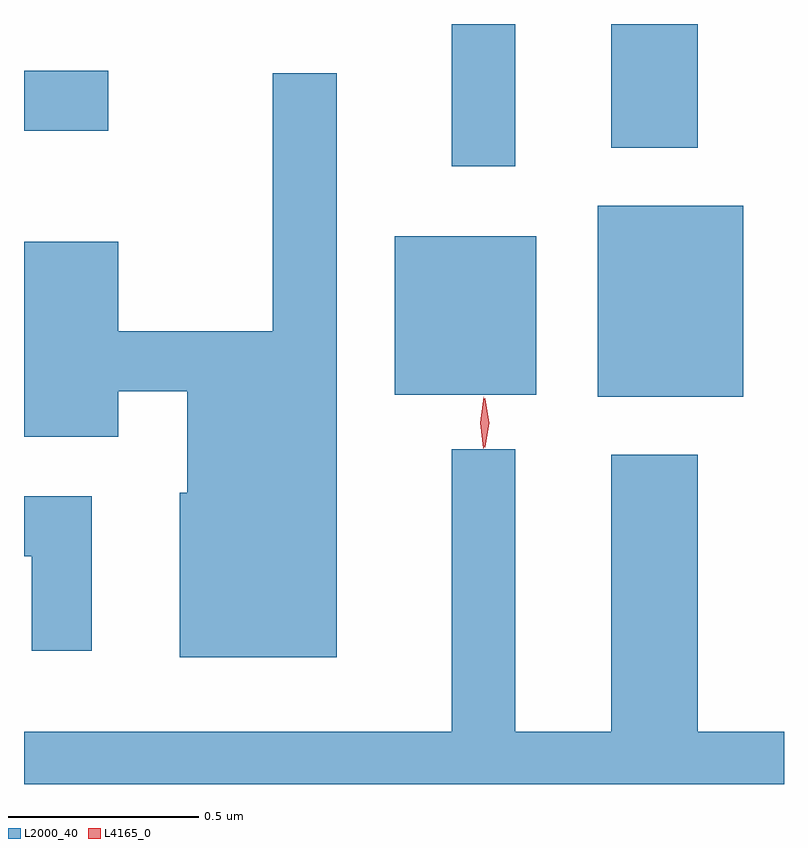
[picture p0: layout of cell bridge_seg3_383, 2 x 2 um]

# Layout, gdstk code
import gdstk
lib = gdstk.Library(unit=1e-6, precision=1e-09)
def R(c, l, rs):  # rectangles x0, y0, x1, y1
    for r in rs: c.add(gdstk.rectangle(r[:2], r[2:], *l))
def P(c, l, *ps):  # polygons
    for p in ps: c.add(gdstk.Polygon(p, *l))
L2000_40 = (2000, 40)
L4165_0 = (4165, 0)

bridge_seg3_383 = lib.new_cell('bridge_seg3_383')
R(bridge_seg3_383, L2000_40, [(671.496,1124.946,671.879,1125.449), (670.961,1124.951,671.334,1125.369), (671.111,1125.553,671.279,1125.927), (671.531,1125.601,671.759,1125.927), (669.986,1125.646,670.208,1125.804)])
P(bridge_seg3_383, L2000_40, [(670.809,1125.798),(670.641,1125.798),(670.641,1125.119),(670.234,1125.119),(670.234,1125.354),(669.986,1125.354),(669.986,1124.841),(670.234,1124.841),(670.234,1124.961),(670.416,1124.961),(670.416,1124.694),(670.396,1124.694),(670.396,1124.261),(670.809,1124.261)],
  [(671.986,1124.064),(671.759,1124.064),(671.759,1124.794),(671.531,1124.794),(671.531,1124.064),(671.279,1124.064),(671.279,1124.808),(671.111,1124.808),(671.111,1124.064),(669.986,1124.064),(669.986,1123.927),(671.986,1123.927)],
  [(670.164,1124.684),(669.986,1124.684),(669.986,1124.526),(670.006,1124.526),(670.006,1124.278),(670.164,1124.278)])
P(bridge_seg3_383, L4165_0, [(671.199,1124.813),(671.19,1124.877),(671.199,1124.941),(671.2,1124.942),(671.2,1124.941),(671.21,1124.877),(671.2,1124.813),(671.2,1124.813)],
  [(671.194,1124.81),(671.186,1124.878),(671.196,1124.946),(671.196,1124.946),(671.196,1124.946),(671.206,1124.878),(671.196,1124.81),(671.195,1124.81)])

lib.write_gds('bridge_seg3_383.gds')
